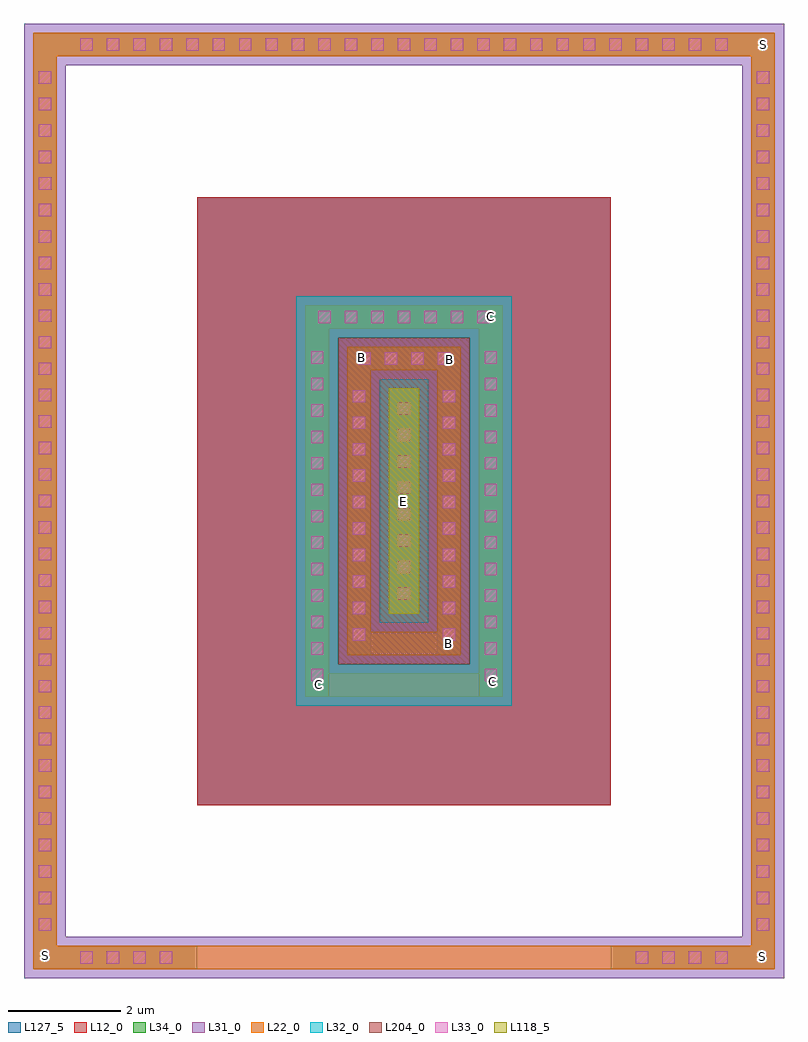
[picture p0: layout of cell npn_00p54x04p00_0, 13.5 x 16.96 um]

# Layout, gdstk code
import gdstk
lib = gdstk.Library(unit=1e-6, precision=1e-09)
def R(c, l, rs):  # rectangles x0, y0, x1, y1
    for r in rs: c.add(gdstk.rectangle(r[:2], r[2:], *l))
def A(c, l, x, y, w, h, nx, ny, dx, dy):  # array of equal rectangles
    R(c, l, [(x+i*dx, y+j*dy, x+i*dx+w, y+j*dy+h) for i in range(nx) for j in range(ny)])
def P(c, l, *ps):  # polygons
    for p in ps: c.add(gdstk.Polygon(p, *l))
L12_0 = (12, 0)
L22_0 = (22, 0)
L31_0 = (31, 0)
L32_0 = (32, 0)
L33_0 = (33, 0)
L34_0 = (34, 0)
L118_5 = (118, 5)
L127_5 = (127, 5)
L204_0 = (204, 0)

npn_00p54x04p00_0 = lib.new_cell('npn_00p54x04p00_0')
R(npn_00p54x04p00_0, L12_0, [(-3.4,-3.4,3.94,7.4)])
R(npn_00p54x04p00_0, L22_0, [(0,0,0.54,4)])
P(npn_00p54x04p00_0, L22_0, [(-0.74,-0.74),(-0.74,4.74),(0.86,4.74),(0.86,4.32),(-0.32,4.32),(-0.32,-0.32),(0.86,-0.32),(0.86,4.74),(1.28,4.74),(1.28,-0.74)],
  [(-1.48,-1.48),(-1.48,5.48),(1.6,5.48),(1.6,5.06),(-1.06,5.06),(-1.06,-1.06),(1.6,-1.06),(1.6,5.48),(2.02,5.48),(2.02,-1.48)],
  [(-6.32,-6.32),(-6.32,10.32),(6.44,10.32),(6.44,9.9),(-5.9,9.9),(-5.9,-5.9),(6.44,-5.9),(6.44,10.32),(6.86,10.32),(6.86,-6.32)])
P(npn_00p54x04p00_0, L31_0, [(-0.9,-0.9),(-0.9,4.9),(0.7,4.9),(0.7,4.16),(-0.16,4.16),(-0.16,-0.16),(0.7,-0.16),(0.7,4.9),(1.44,4.9),(1.44,-0.9)],
  [(-6.48,-6.48),(-6.48,10.48),(6.28,10.48),(6.28,9.74),(-5.74,9.74),(-5.74,-5.74),(6.28,-5.74),(6.28,10.48),(7.02,10.48),(7.02,-6.48)])
R(npn_00p54x04p00_0, L32_0, [(-0.16,-0.16,0.7,4.16)])
P(npn_00p54x04p00_0, L32_0, [(-1.64,-1.64),(-1.64,5.64),(1.44,5.64),(1.44,4.9),(-0.9,4.9),(-0.9,-0.9),(1.44,-0.9),(1.44,5.64),(2.18,5.64),(2.18,-1.64)])
A(npn_00p54x04p00_0, L33_0, -5.48, -6.22, 0.22, 0.22, 4, 1, 0.47, 0)
A(npn_00p54x04p00_0, L33_0, 4.39, -6.22, 0.22, 0.22, 4, 1, 0.47, 0)
A(npn_00p54x04p00_0, L33_0, -6.22, -5.63, 0.22, 0.22, 1, 33, 0, 0.47)
A(npn_00p54x04p00_0, L33_0, 6.54, -5.63, 0.22, 0.22, 1, 33, 0, 0.47)
A(npn_00p54x04p00_0, L33_0, -1.38, -1.2, 0.22, 0.22, 1, 13, 0, 0.47)
A(npn_00p54x04p00_0, L33_0, 1.7, -1.2, 0.22, 0.22, 1, 13, 0, 0.47)
A(npn_00p54x04p00_0, L33_0, -0.64, -0.48, 0.22, 0.22, 1, 10, 0, 0.47)
A(npn_00p54x04p00_0, L33_0, 0.96, -0.48, 0.22, 0.22, 1, 10, 0, 0.47)
A(npn_00p54x04p00_0, L33_0, 0.16, 0.245, 0.22, 0.22, 1, 8, 0, 0.47)
A(npn_00p54x04p00_0, L33_0, -0.54, 4.42, 0.22, 0.22, 4, 1, 0.47, 0)
A(npn_00p54x04p00_0, L33_0, -1.25, 5.16, 0.22, 0.22, 7, 1, 0.47, 0)
A(npn_00p54x04p00_0, L33_0, -5.48, 10, 0.22, 0.22, 25, 1, 0.47, 0)
R(npn_00p54x04p00_0, L34_0, [(-6.32,-6.32,-3.4,-5.9), (-6.32,-6.32,-5.9,10.32), (3.94,-6.32,6.86,-5.9), (6.44,-6.32,6.86,10.32), (-1.48,-1.48,-1.06,5.06), (1.6,-1.48,2.02,5.48), (1.6,-1.48,2.02,5.06), (-1.48,-1.475,-1.06,5.48), (-0.74,-0.74,-0.32,4.74), (-0.74,-0.74,-0.32,4.32), (0.86,-0.74,1.28,4.74), (0.86,-0.74,1.28,4.32), (0,0,0.54,4), (0,0,0.54,4), (-0.74,4.32,1.28,4.74), (-0.74,4.32,1.28,4.74), (-1.48,5.06,2.02,5.48), (-1.48,5.06,2.02,5.48), (-6.32,9.9,6.86,10.32)])
P(npn_00p54x04p00_0, L34_0, [(3.94,-6.32),(3.94,-5.9),(6.44,-5.9),(6.44,10.32),(6.86,10.32),(6.86,-6.32)],
  [(-6.32,-6.32),(-6.32,10.32),(6.44,10.32),(6.44,9.9),(-5.9,9.9),(-5.9,-5.9),(-3.4,-5.9),(-3.4,-6.32)])
R(npn_00p54x04p00_0, L118_5, [(0,0,0.54,4)])
R(npn_00p54x04p00_0, L127_5, [(-3.4,-3.4,3.94,7.4)])
R(npn_00p54x04p00_0, L204_0, [(-0.9,-0.9,1.44,4.9)])
npn_00p54x04p00_0.add(gdstk.Label('E', (0.26,1.99), layer=34, texttype=0))
npn_00p54x04p00_0.add(gdstk.Label('B', (-0.49,4.555), layer=34, texttype=0))
npn_00p54x04p00_0.add(gdstk.Label('B', (1.06,-0.535), layer=34, texttype=0))
npn_00p54x04p00_0.add(gdstk.Label('B', (1.07,4.52), layer=34, texttype=0))
npn_00p54x04p00_0.add(gdstk.Label('C', (-1.24,-1.265), layer=34, texttype=0))
npn_00p54x04p00_0.add(gdstk.Label('C', (1.835,-1.21), layer=34, texttype=0))
npn_00p54x04p00_0.add(gdstk.Label('C', (1.805,5.275), layer=34, texttype=0))
npn_00p54x04p00_0.add(gdstk.Label('S', (6.64,-6.09), layer=34, texttype=0))
npn_00p54x04p00_0.add(gdstk.Label('S', (6.64,-6.09), layer=34, texttype=0))
npn_00p54x04p00_0.add(gdstk.Label('S', (6.655,10.105), layer=34, texttype=0))
npn_00p54x04p00_0.add(gdstk.Label('S', (-6.09,-6.075), layer=34, texttype=0))
npn_00p54x04p00_0.add(gdstk.Label('S', (-6.09,-6.075), layer=34, texttype=0))

lib.write_gds('npn_00p54x04p00_0.gds')
